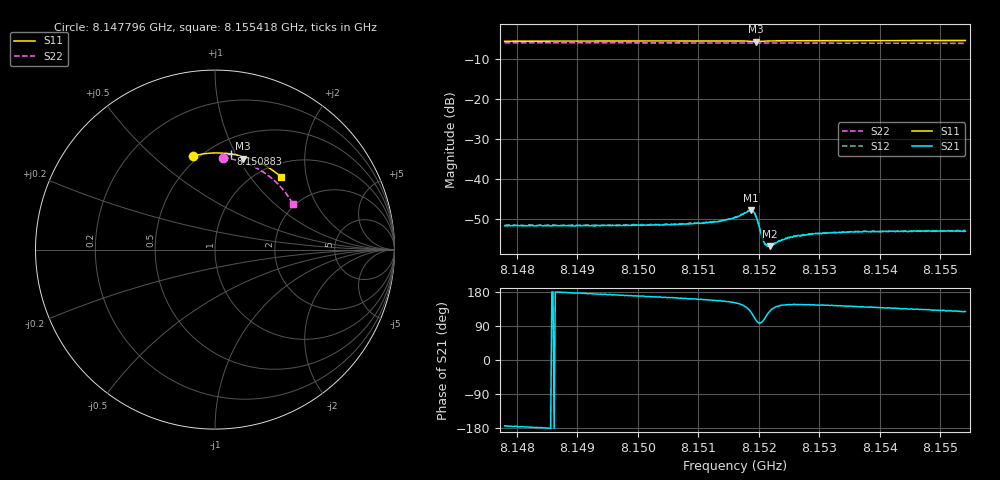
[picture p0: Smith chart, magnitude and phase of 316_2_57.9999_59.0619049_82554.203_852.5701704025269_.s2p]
#  HZ  S  RI  R  50.00
! Rohde & Schwarz Vector Network Analyzer
! Rohde-Schwarz,ZNB20-2Port,1311601062101988,3.16
! Created: UTC 3/21/2024, 1:04:24 AM
! freq[Hz]  re:S11  im:S11  re:S21  im:S21  re:S12  im:S12  re:S22  im:S22
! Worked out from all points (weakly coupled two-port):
!   401 points, 8.147796 GHz to 8.155418 GHz, reference 50 ohm
!   highest |S21| = -47.79 dB at 8.151874 GHz (marker M1); lowest = -56.7 dB at 8.152179 GHz (marker M2)
!   lowest |S11| = -5.5 dB at 8.15195 GHz (marker M3), VSWR 3.25, Z = 37.2 + j52.4 ohm
!   |S11| at or under -10 dB: nowhere
!   |S22| runs from -6.0 to -5.8 dB; largest |S21 - S12| = 0.00012
!   S11 on the Smith chart (normalised r, x): 8.147796 GHz: 0.46, +0.68; 8.150883 GHz: 0.64, +0.96; 8.155418 GHz: 1.24, +1.44
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8.1477958e9  -0.1237 0.5211  -0.00261 -0.000282  -0.00264 -0.000237  0.0448 0.5115
8.1490725e9  -0.0359 0.5365  -0.00262 0.000183  -0.0027 0.000234  0.1265 0.4963
8.1503492e9  0.0528 0.5374  -0.0026 0.000636  -0.00263 0.000692  0.2041 0.4679
8.1508828e9  0.0901 0.5331  -0.00264 0.000895  -0.00268 0.000939  0.2349 0.4524
8.151321e9  0.1209 0.5274  -0.00272 0.00116  -0.00271 0.00123  0.2591 0.4383
8.1516069e9  0.1416 0.5217  -0.00293 0.00161  -0.00291 0.00169  0.2745 0.4283
8.1518165e9  0.1566 0.5131  -0.00285 0.00275  -0.00288 0.0028  0.2857 0.4204
8.1518737e9  0.1586 0.509  -0.00238 0.00331  -0.00236 0.00338  0.2883 0.4181
8.1519118e9  0.1586 0.5067  -0.00173 0.00354  -0.00167 0.0036  0.2903 0.4168
8.1519499e9  0.1573 0.506  -0.000978 0.00337  -0.000927 0.00341  0.292 0.4154
8.151988e9  0.1568 0.5073  -0.000446 0.00285  -0.000427 0.00288  0.294 0.414
8.1520642e9  0.1605 0.5109  -0.000379 0.00175  -0.000381 0.00179  0.2979 0.4112
8.1520833e9  0.1619 0.5114  -0.000445 0.00159  -0.000483 0.0016  0.299 0.4107
8.1521214e9  0.1652 0.5121  -0.00065 0.00136  -0.000637 0.00138  0.3009 0.4091
8.1521786e9  0.1699 0.5121  -0.000897 0.00115  -0.000903 0.00116  0.3037 0.4069
8.1523119e9  0.1804 0.5104  -0.0013 0.00103  -0.00132 0.00102  0.3105 0.4017
8.1525025e9  0.1942 0.5067  -0.00154 0.00102  -0.00155 0.00107  0.3199 0.3937
8.1526168e9  0.2021 0.5038  -0.00164 0.00108  -0.00162 0.00108  0.3256 0.3892
8.1528836e9  0.2198 0.4972  -0.0017 0.00115  -0.00172 0.00122  0.3379 0.3777
8.1534934e9  0.2586 0.4793  -0.00174 0.00136  -0.00172 0.00137  0.365 0.3501
8.1541603e9  0.2987 0.4565  -0.00164 0.00153  -0.00163 0.00153  0.3922 0.3181
8.155418e9  0.3683 0.4048  -0.00137 0.00177  -0.00137 0.00182  0.4351 0.2518
